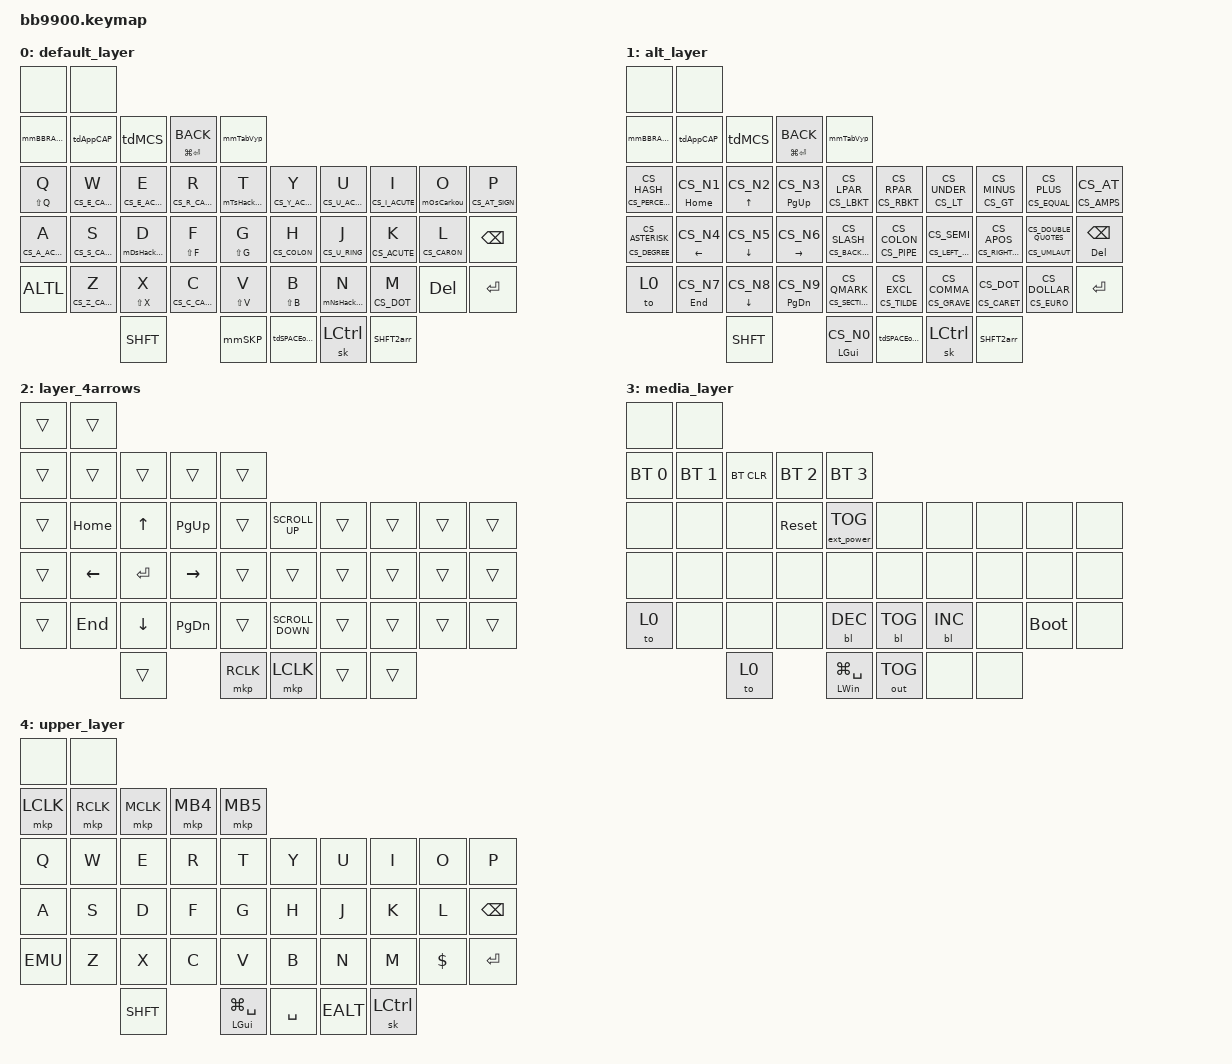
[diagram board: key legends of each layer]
/*
 * Copyright (c) 2023 ZitaoTech
 * "BlueBerry" Android Layout by Drexel Macintosh    
 * SPDX-License-Identifier: MIT
 */

#include "keys_cs_qwerty.h"
#include <behaviors.dtsi>
#include <dt-bindings/zmk/backlight.h>
#include <dt-bindings/zmk/bt.h>
#include <dt-bindings/zmk/ext_power.h>
#include <dt-bindings/zmk/keys.h>
#include <dt-bindings/zmk/mouse.h>
#include <dt-bindings/zmk/outputs.h>

/ {
    keymap {
        compatible = "zmk,keymap";

        default_layer {
            bindings = <
                &kp CS_Z_CARON &kp CS_U_RING &kp CS_S_CARON &kp CS_R_CARON &kp CS_E_CARON &kp CS_C_CARON &kp CS_Y_ACUTE &kp CS_U_ACUTE &kp CS_I_ACUTE &kp CS_E_ACUTE &kp CS_A_ACUTE &kp CS_CARON &kp CS_ACUTE
            >;
        };
    };
};

#define ALT 1
#define UPPER 2
#define MEDIA 3

// Standard Behavior Configurations:

&mt {
    flavor = "tap-preferred";
    tapping-term-ms = <200>;
};

&sk { release-after-ms = <2500>; };

&sl { release-after-ms = <2500>; };

&gresc {
    bindings = <&mkp LCLK>, <&mt PAGE_UP PAGE_DOWN>;

    mods = <(MOD_LSFT|MOD_RSFT|MOD_RALT)>;
};

/ {
    //Behaviors Start Here:

    behaviors {
        // Tap Dance Behaviors

        td0: tap_dance_0 {
            compatible = "zmk,behavior-tap-dance";
            #binding-cells = <0>;
            tapping-term-ms = <300>;
            bindings = <&mkp LCLK>, <&gresc>;
        };

        ALTL: tap_dance_1 {
            compatible = "zmk,behavior-tap-dance";
            #binding-cells = <0>;
            tapping-term-ms = <300>;
            bindings = <&sl 1>, <&to 1>;
        };

        SHFT: tap_dance_2 {
            compatible = "zmk,behavior-tap-dance";
            #binding-cells = <0>;
            tapping-term-ms = <300>;
            bindings = <&sk LSHFT>, <&kp CLCK>;
        };

        MED: tap_dance_3 {
            compatible = "zmk,behavior-tap-dance";
            #binding-cells = <0>;
            tapping-term-ms = <250>;
            bindings = <&to 0>, <&to 4>;
        };

        MAN: tap_dance_4 {
            compatible = "zmk,behavior-tap-dance";
            #binding-cells = <0>;
            tapping-term-ms = <250>;
            bindings = <&to 0>, <&to 4>;
        };

        EALT: tap_dance_5 {
            compatible = "zmk,behavior-tap-dance";
            #binding-cells = <0>;
            tapping-term-ms = <300>;
            bindings = <&sk LALT>, <&kp LALT>;
        };

        ECTRL: tap_dance_6 {
            compatible = "zmk,behavior-tap-dance";
            #binding-cells = <0>;
            tapping-term-ms = <300>;
            bindings = <&sk LCTRL>, <&kp LC(SPACE)>;
        };

        EMU: tap_dance_7 {
            compatible = "zmk,behavior-tap-dance";
            #binding-cells = <0>;
            tapping-term-ms = <250>;
            bindings = <&to 0>, <&to 4>;
        };

        // Macro Behaviors

        tap: tap {
            compatible = "zmk,behavior-macro-one-param";
            #binding-cells = <1>;
            bindings =
                <&macro_param_1to1 &kp MACRO_PLACEHOLDER>,
                <&macro_press>;
        };

        glo: globe_pseudo_mod {
            compatible = "zmk,behavior-macro-one-param";
            #binding-cells = <1>;
            bindings =
                <&macro_press>,
                <&kp GLOBE &macro_param_1to1>,
                <&macro_tap>,
                <&kp MACRO_PLACEHOLDER>,
                <&macro_release>,
                <&kp GLOBE>;
        };

        mSOPK: macro_switchoff {
            compatible = "zmk,behavior-macro";
            #binding-cells = <0>;
            bindings = <&ext_power EP_TOG &kp K_COFFEE>;
            label = "switch off phone and keyboard";
        };

        mNsHackem: mNsHackem {
            compatible = "zmk,behavior-macro";
            #binding-cells = <0>;
            bindings = <&kp CS_CARON &kp N>;
            label = "MNSHACKEM";
        };

        mDsHackem: mDsHackem {
            compatible = "zmk,behavior-macro";
            #binding-cells = <0>;
            bindings = <&kp CS_CARON &kp D>;
            label = "MDSHACKEM";
        };

        mTsHackem: mTsHackem {
            compatible = "zmk,behavior-macro";
            #binding-cells = <0>;
            bindings = <&kp CS_CARON &kp T>;
            label = "MTSHACKEM";
        };

        mOsCarkou: mOsCarkou {
            compatible = "zmk,behavior-macro";
            #binding-cells = <0>;
            bindings = <&kp CS_ACUTE &kp O>;
            label = "MOSCARKOU";
        };

        // Hold Tap Behaviors

        KPM: behavior_KPM {
            compatible = "zmk,behavior-hold-tap";
            label = "KPM";
            #binding-cells = <2>;
            flavor = "tap-preferred";
            tapping-term-ms = <400>;
            bindings = <&msc>, <&kp>;
        };

        hm: homerow_mods {
            compatible = "zmk,behavior-hold-tap";
            #binding-cells = <2>;
            tapping-term-ms = <500>;
            bindings = <&out &kp>;
        };

        hm2: homerow_mods_2 {
            compatible = "zmk,behavior-hold-tap";
            #binding-cells = <2>;
            tapping-term-ms = <500>;
            bindings = <&ext_power &kp>;
        };

        mtt: mod_tap_tap {
            compatible = "zmk,behavior-hold-tap";
            #binding-cells = <2>;
            flavor = "tap-preferred";
            tapping-term-ms = <200>;
            quick-tap-ms = <125>;
            require-prior-idle-ms = <125>;
            bindings = <&tap>, <&tap>;
        };

        msk: mod_Stick_Pre {
            compatible = "zmk,behavior-hold-tap";
            #binding-cells = <2>;
            flavor = "tap-preferred";
            tapping-term-ms = <200>;
            quick-tap-ms = <125>;
            require-prior-idle-ms = <125>;
            bindings = <&sk>, <&kp>;
        };

        alt_to: behavior_alt_to {
            compatible = "zmk,behavior-hold-tap";
            label = "alt_to";
            #binding-cells = <2>;
            flavor = "tap-preferred";
            tapping-term-ms = <300>;
            bindings = <&kp>, <&to>;
        };

        glb: mod_tap_glo {
            compatible = "zmk,behavior-hold-tap";
            #binding-cells = <2>;
            flavor = "tap-preferred";
            tapping-term-ms = <200>;
            quick-tap-ms = <125>;
            require-prior-idle-ms = <125>;
            bindings = <&kp>, <&glo>;
        };

        mmTabVyp: TabMenu_SwitchOffKBDmouse {
            compatible = "zmk,behavior-mod-morph";
            label = "mod morph Tab_and_Menu plus Switchoffs";
            bindings = <&mtt K_APP TAB>, <&htAOFFtog 0 EP_TOG>;

            #binding-cells = <0>;
            mods = <(MOD_LCTL|MOD_RCTL)>;
        };

        mmSKP: SwiftKeySwipe_PrtScr {
            compatible = "zmk,behavior-mod-morph";
            label = "mod morph SwiftKey and PrintScreen";
            bindings =
                <&mtt LC(RA(NUMBER_3)) LC(RA(NUMBER_1))>,
                <&kp PRINTSCREEN>;

            #binding-cells = <0>;
            mods = <(MOD_LSFT|MOD_RSFT)>;
        };

        tdAppCAP: AppMenu_CAPS {
            compatible = "zmk,behavior-tap-dance";
            label = "TapDance App Menu vs CAPS";
            #binding-cells = <0>;
            bindings = <&kp K_APP>, <&kp CAPS>;

            tapping-term-ms = <250>;
        };

        tdMCS: TD_mouse_click_scroll {
            compatible = "zmk,behavior-tap-dance";
            label = "Tap dance first mouse click then scroll";
            #binding-cells = <0>;
            bindings = <&gresc>, <&mkp LCLK>, <&kp CAPS>;

            tapping-term-ms = <250>;
        };

        htAOFFtog: htAOFFtog {
            compatible = "zmk,behavior-hold-tap";
            label = "HTAOFFTOG";
            bindings = <&mSOPK>, <&ext_power>;

            #binding-cells = <2>;
            tapping-term-ms = <500>;
        };

        mmBBRAltLay1: mmBBRAltLay1 {
            compatible = "zmk,behavior-mod-morph";
            label = "ModMorph BBR Alt vs Tpdnc 0or2";
            bindings = <&sk RIGHT_ALT>, <&MAN>;

            #binding-cells = <0>;
            mods = <(MOD_LSFT|MOD_RSFT)>;
        };

        mmBBRAltLay0: mmBBRAltLay0 {
            compatible = "zmk,behavior-mod-morph";
            label = "ModMorph BBR Alt vs Tpdnc lay1";
            bindings = <&sk RIGHT_ALT>, <&ALTL>;

            #binding-cells = <0>;
            mods = <(MOD_LSFT|MOD_RSFT)>;
        };

        htNsHackem: htNsHackem {
            compatible = "zmk,behavior-hold-tap";
            label = "HTNSHACKEM";
            bindings = <&mNsHackem>, <&kp>;

            #binding-cells = <2>;
            tapping-term-ms = <200>;
            quick-tap-ms = <125>;
            require-prior-idle-ms = <125>;
            flavor = "tap-preferred";
        };

        SHFT2arr: SHIFT_ArrowLayer_2xCAPS {
            compatible = "zmk,behavior-tap-dance";
            #binding-cells = <0>;
            tapping-term-ms = <300>;
            bindings = <&htLSHF_ArrLay_CAPS 2 LEFT_SHIFT>, <&kp CLCK>;

            label = "SHIFT_ArrowLayer_2xCAPS";
        };

        htLSHF_ArrLay_CAPS: holdArrLay_skLShift_2xCAPS {
            compatible = "zmk,behavior-hold-tap";
            label = "HTLSHF_ARRLAY_CAPS";
            bindings = <&mo>, <&sk>;

            #binding-cells = <2>;
            tapping-term-ms = <250>;
        };

        htOsCarkou: htOsCarkou {
            compatible = "zmk,behavior-hold-tap";
            label = "HTOSCARKOU";
            bindings = <&mOsCarkou>, <&kp>;

            #binding-cells = <2>;
            tapping-term-ms = <200>;
            quick-tap-ms = <125>;
            require-prior-idle-ms = <125>;
            flavor = "tap-preferred";
        };

        htDsHackem: htDsHackem {
            compatible = "zmk,behavior-hold-tap";
            label = "HTDSHACKEM";
            bindings = <&mDsHackem>, <&kp>;

            #binding-cells = <2>;
            tapping-term-ms = <200>;
            quick-tap-ms = <125>;
            require-prior-idle-ms = <125>;
            flavor = "tap-preferred";
        };

        htTsHackem: htTsHackem {
            compatible = "zmk,behavior-hold-tap";
            label = "HTTSHACKEM";
            bindings = <&mTsHackem>, <&kp>;

            #binding-cells = <2>;
            tapping-term-ms = <200>;
            quick-tap-ms = <125>;
            require-prior-idle-ms = <125>;
            flavor = "tap-preferred";
        };

        tdSPACEorDOT: tdSPACEorDOT {
            compatible = "zmk,behavior-tap-dance";
            label = "TDSPACEORDOT";
            #binding-cells = <0>;
            bindings = <&kp SPACE>, <&kp CS_DOT>;

            tapping-term-ms = <250>;
        };

        //End Behvaiors here
    };

    macros {
    };

    combos {
        compatible = "zmk,combos";

        Win_N {
            bindings = <&kp LG(N)>;
            key-positions = <33 3>;
        };

        WIN_space {
            bindings = <&kp LG(SPACE)>;
            key-positions = <39 3>;
        };
    };

    keymap {
        compatible = "zmk,keymap";

        default_layer {
            bindings = <
&none              &none
&mmBBRAltLay0      &tdAppCAP          &tdMCS             &mtt LG(RETURN) K_BACK  &mmTabVyp
&mtt LS(Q) Q       &mtt CS_E_CARON W  &mtt CS_E_ACUTE E  &mtt CS_R_CARON R       &htTsHackem 0 T  &mtt CS_Y_ACUTE Y    &mtt CS_U_ACUTE U  &mtt CS_I_ACUTE I  &htOsCarkou 0 O  &mtt CS_AT_SIGN P
&mtt CS_A_ACUTE A  &mtt CS_S_CARON S  &htDsHackem 0 D    &mtt LS(F) F            &mtt LS(G) G     &mtt CS_COLON H      &mtt CS_U_RING J   &mtt CS_ACUTE K    &mtt CS_CARON L  &kp BSPC
&ALTL              &mtt CS_Z_CARON Z  &mtt LS(X) X       &mtt CS_C_CARON C       &mtt LS(V) V     &mtt LS(B) B         &htNsHackem 0 N    &mtt CS_DOT M      &kp DELETE       &kp ENTER
                                      &SHFT                                      &mmSKP           &tdSPACEorDOT        &sk LCTRL          &SHFT2arr
            >;
        };

        alt_layer {
            bindings = <
&none                       &none
&mmBBRAltLay1               &tdAppCAP        &tdMCS           &mtt LG(RETURN) K_BACK  &mmTabVyp
&mtt CS_PERCENT CS_HASH     &mtt HOME CS_N1  &mtt UP CS_N2    &mtt PG_UP CS_N3        &mtt CS_LBKT CS_LPAR        &mtt CS_RBKT CS_RPAR     &mtt CS_LT CS_UNDER         &mtt CS_GT CS_MINUS          &mtt CS_EQUAL CS_PLUS            &mtt CS_AMPS CS_AT
&mtt CS_DEGREE CS_ASTERISK  &mtt LEFT CS_N4  &mtt DOWN CS_N5  &mtt RIGHT CS_N6        &mtt CS_BACKSLASH CS_SLASH  &mtt CS_PIPE CS_COLON    &mtt CS_LEFT_BRACE CS_SEMI  &mtt CS_RIGHT_BRACE CS_APOS  &mtt CS_UMLAUT CS_DOUBLE_QUOTES  &mtt DEL BSPC
&to 0                       &mtt END CS_N7   &mtt DOWN CS_N8  &mtt PG_DN CS_N9        &mtt CS_SECTION CS_QMARK    &mtt CS_TILDE CS_EXCL    &mtt CS_GRAVE CS_COMMA      &mtt CS_CARET CS_DOT         &mtt CS_EURO CS_DOLLAR           &kp ENTER
                                             &SHFT                                    &mtt LEFT_GUI CS_N0         &tdSPACEorDOT            &sk LCTRL                   &SHFT2arr
            >;
        };

        layer_4arrows {
            bindings = <
&trans  &trans
&trans  &trans          &trans      &trans         &trans
&trans  &kp HOME        &kp UP      &kp PAGE_UP    &trans     &kp K_SCROLL_UP      &trans  &trans  &trans  &trans
&trans  &kp LEFT_ARROW  &kp RETURN  &kp RIGHT      &trans     &trans               &trans  &trans  &trans  &trans
&trans  &kp END         &kp DOWN    &kp PAGE_DOWN  &trans     &kp K_SCROLL_DOWN    &trans  &trans  &trans  &trans
                        &trans                     &mkp RCLK  &mkp LCLK            &trans  &trans
            >;
        };

        media_layer {
            bindings = <
&none         &none
&bt BT_SEL 0  &bt BT_SEL 1  &bt BT_CLR  &bt BT_SEL 2  &bt BT_SEL 3
&none         &none         &none       &sys_reset    &ext_power EP_TOG        &none           &none       &none  &none        &none
&none         &none         &none       &none         &none                    &none           &none       &none  &none        &none
&to 0         &none         &none       &none         &bl BL_DEC               &bl BL_TOG      &bl BL_INC  &none  &bootloader  &none
                            &to 0                     &msk LEFT_WIN LG(SPACE)  &out OUT_TOG    &none       &none
            >;
        };

        upper_layer {
            bindings = <
&none      &none
&mkp LCLK  &mkp RCLK  &mkp MCLK  &mkp MB4  &mkp MB5
&kp Q      &kp W      &kp E      &kp R     &kp T                    &kp Y        &kp U  &kp I      &kp O     &kp P
&kp A      &kp S      &kp D      &kp F     &kp G                    &kp H        &kp J  &kp K      &kp L     &kp BSPC
&EMU       &kp Z      &kp X      &kp C     &kp V                    &kp B        &kp N  &kp M      &kp DLLR  &kp ENTER
                      &SHFT                &msk LEFT_GUI LG(SPACE)  &kp SPACE    &EALT  &sk LCTRL
            >;
        };
    };
};
